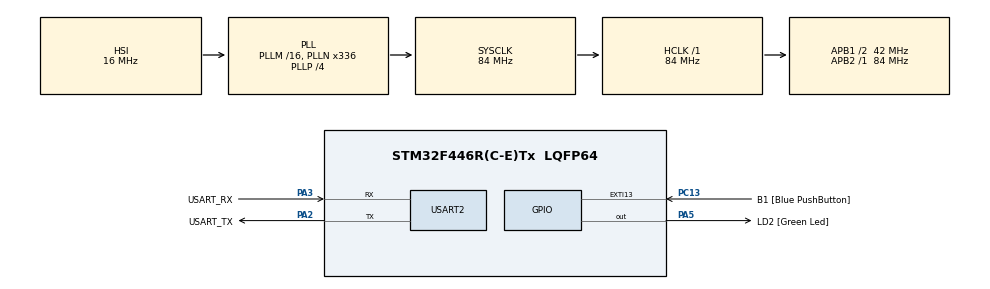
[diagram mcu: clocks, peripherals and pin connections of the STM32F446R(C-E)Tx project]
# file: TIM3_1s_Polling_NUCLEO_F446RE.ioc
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Mcu.Family=STM32F4
Mcu.Name=STM32F446R(C-E)Tx
Mcu.Package=LQFP64
NVIC.PriorityGroup=NVIC_PRIORITYGROUP_0
PA13.GPIO_Label=TMS
PA13.Mode=Serial_Wire
PA13.Signal=SYS_JTMS-SWDIO
PA14.GPIO_Label=TCK
PA14.Mode=Serial_Wire
PA14.Signal=SYS_JTCK-SWCLK
PA2.GPIO_Label=USART_TX
PA2.Mode=Asynchronous
PA2.Signal=USART2_TX
PA3.GPIO_Label=USART_RX
PA3.Mode=Asynchronous
PA3.Signal=USART2_RX
PA5.GPIO_Label=LD2 [Green Led]
PA5.Signal=GPIO_Output
PB3.GPIO_Label=SWO
PB3.Signal=SYS_JTDO-SWO
PC13.GPIO_Label=B1 [Blue PushButton]
PC13.GPIO_ModeDefaultEXTI=GPIO_MODE_IT_FALLING
PC13.Signal=GPXTI13
PC14-OSC32_IN.Mode=LSE-External-Oscillator
PC14-OSC32_IN.Signal=RCC_OSC32_IN
PC15-OSC32_OUT.Mode=LSE-External-Oscillator
PC15-OSC32_OUT.Signal=RCC_OSC32_OUT
PH0-OSC_IN.Mode=HSE-External-Oscillator
PH0-OSC_IN.Signal=RCC_OSC_IN
PH1-OSC_OUT.Mode=HSE-External-Oscillator
PH1-OSC_OUT.Signal=RCC_OSC_OUT
ProjectManager.HeapSize=0x200
ProjectManager.StackSize=0x400
ProjectManager.TargetToolchain=STM32CubeIDE
RCC.48MHZClocksFreq_Value=84000000
RCC.AHBFreq_Value=84000000
RCC.APB1CLKDivider=RCC_HCLK_DIV2
RCC.APB1Freq_Value=42000000
RCC.APB1TimFreq_Value=84000000
RCC.APB2Freq_Value=84000000
RCC.APB2TimFreq_Value=84000000
RCC.CortexFreq_Value=84000000
RCC.FLatency-AdvancedSettings=FLASH_LATENCY_2
RCC.HCLKFreq_Value=84000000
RCC.HSE_VALUE=8000000
RCC.HSI_VALUE=16000000
RCC.PLLN=336
RCC.PLLP=RCC_PLLP_DIV4
RCC.SYSCLKFreq_VALUE=84000000
RCC.SYSCLKSource=RCC_SYSCLKSOURCE_PLLCLK
RCC.USBFreq_Value=168000000
RCC.VCOOutputFreq_Value=336000000
USART2.VirtualMode=VM_ASYNC
board=NUCLEO-F446RE

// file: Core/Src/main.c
/* USER CODE BEGIN Header */
/**
  ******************************************************************************
  * @file           : main.c
  * @brief          :TIM3 por polling
  * Este programa configura TIM3 para generar un evento de actualización cada 1
  * segundo. A diferencia de la versión con interrupción, aquí el evento no
  * llama automáticamente a una rutina. El programa principal consulta el flag
  * UIF dentro del while(1) mediante polling. Cuando UIF está activo, el
  * firmware lo limpia y conmuta el pin PA5, donde está conectado el LED LD2.
  * El tiempo lo mide el hardware del timer, pero la detección del evento la
  * realiza el software mediante consulta periódica.
  ******************************************************************************
  * @attention
  *
  * Copyright (c) 2026 STMicroelectronics.
  * All rights reserved.
  *
  * This software is licensed under terms that can be found in the LICENSE file
  * in the root directory of this software component.
  * If no LICENSE file comes with this software, it is provided AS-IS.
  *
  ******************************************************************************
  */
/* USER CODE END Header */
#include "main.h"

UART_HandleTypeDef huart2;

void SystemClock_Config(void);
static void MX_GPIO_Init(void);
static void MX_USART2_UART_Init(void);
/* USER CODE BEGIN PFP */
static void TIM3_1s_Polling_Init(void);
static void TIM3_Polling_Task(void);
static void LD2_Toggle_Register(void);
/* USER CODE END PFP */

/* USER CODE BEGIN 0 */
static void LD2_Toggle_Register(void)
{
    GPIOA->ODR ^= (1UL << 5U);
}

static void TIM3_1s_Polling_Init(void)
{
    /*
     * TIM3 pertenece a APB1.
     * En esta configuración:
     *
     * PCLK1 = 42 MHz
     * APB1 prescaler = 2
     * f_TIM3 = 2 x PCLK1 = 84 MHz
     */

    /* 1. Habilitar reloj de TIM3 */
    RCC->APB1ENR |= RCC_APB1ENR_TIM3EN;
    (void)RCC->APB1ENR;

    /* 2. Detener el timer durante la configuración */
    TIM3->CR1 &= ~TIM_CR1_CEN;

    /*
     * Queremos un evento cada 1 segundo.
     *
     * f_TIM3 = 84 MHz
     *
     * Elegimos:
     * f_CNT = 10 kHz
     *
     * PSC + 1 = 84 MHz / 10 kHz = 8400
     * PSC = 8399
     *
     * Para 1 segundo:
     * ARR + 1 = 10000
     * ARR = 9999
     */

    TIM3->PSC = 8399U;
    TIM3->ARR = 9999U;
    TIM3->CNT = 0U;

    /* 3. Modo ascendente */
    TIM3->CR1 &= ~TIM_CR1_DIR;

    /* 4. Modo edge-aligned */
    TIM3->CR1 &= ~TIM_CR1_CMS;

    /* 5. Habilitar preload de ARR */
    TIM3->CR1 |= TIM_CR1_ARPE;

    /* 6. No usar interrupción en el proyecto por polling */
    TIM3->DIER &= ~TIM_DIER_UIE;

    /* 7. Forzar actualización para cargar PSC y ARR */
    TIM3->EGR |= TIM_EGR_UG;

    /* 8. Limpiar flag de actualización */
    TIM3->SR &= ~TIM_SR_UIF;

    /* 9. Arrancar TIM3 */
    TIM3->CR1 |= TIM_CR1_CEN;
}

static void TIM3_Polling_Task(void)
{
    if ((TIM3->SR & TIM_SR_UIF) != 0U)
    {
        /* Limpiar flag de actualización */
        TIM3->SR &= ~TIM_SR_UIF;

        /* Acción cada 1 segundo */
        LD2_Toggle_Register();
    }
}
/* USER CODE END 0 */

int main(void)
{

  /* MCU Configuration--------------------------------------------------------*/

  /* Reset of all peripherals, Initializes the Flash interface and the Systick. */
  HAL_Init();

  /* Configure the system clock */
  SystemClock_Config();

  /* Initialize all configured peripherals */
  MX_GPIO_Init();
  MX_USART2_UART_Init();
  /* USER CODE BEGIN 2 */
  TIM3_1s_Polling_Init();
  /* USER CODE END 2 */

  /* Infinite loop */
  /* USER CODE BEGIN WHILE */
  while (1)
  {
	  TIM3_Polling_Task();
    /* USER CODE END WHILE */

  }
}

void SystemClock_Config(void)
{
  RCC_OscInitTypeDef RCC_OscInitStruct = {0};
  RCC_ClkInitTypeDef RCC_ClkInitStruct = {0};

  /** Configure the main internal regulator output voltage
  */
  __HAL_RCC_PWR_CLK_ENABLE();
  __HAL_PWR_VOLTAGESCALING_CONFIG(PWR_REGULATOR_VOLTAGE_SCALE3);

  /** Initializes the RCC Oscillators according to the specified parameters
  * in the RCC_OscInitTypeDef structure.
  */
  RCC_OscInitStruct.OscillatorType = RCC_OSCILLATORTYPE_HSI;
  RCC_OscInitStruct.HSIState = RCC_HSI_ON;
  RCC_OscInitStruct.HSICalibrationValue = RCC_HSICALIBRATION_DEFAULT;
  RCC_OscInitStruct.PLL.PLLState = RCC_PLL_ON;
  RCC_OscInitStruct.PLL.PLLSource = RCC_PLLSOURCE_HSI;
  RCC_OscInitStruct.PLL.PLLM = 16;
  RCC_OscInitStruct.PLL.PLLN = 336;
  RCC_OscInitStruct.PLL.PLLP = RCC_PLLP_DIV4;
  RCC_OscInitStruct.PLL.PLLQ = 2;
  RCC_OscInitStruct.PLL.PLLR = 2;
  if (HAL_RCC_OscConfig(&RCC_OscInitStruct) != HAL_OK)
  {
    Error_Handler();
  }

  /** Initializes the CPU, AHB and APB buses clocks
  */
  RCC_ClkInitStruct.ClockType = RCC_CLOCKTYPE_HCLK|RCC_CLOCKTYPE_SYSCLK
                              |RCC_CLOCKTYPE_PCLK1|RCC_CLOCKTYPE_PCLK2;
  RCC_ClkInitStruct.SYSCLKSource = RCC_SYSCLKSOURCE_PLLCLK;
  RCC_ClkInitStruct.AHBCLKDivider = RCC_SYSCLK_DIV1;
  RCC_ClkInitStruct.APB1CLKDivider = RCC_HCLK_DIV2;
  RCC_ClkInitStruct.APB2CLKDivider = RCC_HCLK_DIV1;

  if (HAL_RCC_ClockConfig(&RCC_ClkInitStruct, FLASH_LATENCY_2) != HAL_OK)
  {
    Error_Handler();
  }
}

static void MX_USART2_UART_Init(void)
{

  huart2.Instance = USART2;
  huart2.Init.BaudRate = 115200;
  huart2.Init.WordLength = UART_WORDLENGTH_8B;
  huart2.Init.StopBits = UART_STOPBITS_1;
  huart2.Init.Parity = UART_PARITY_NONE;
  huart2.Init.Mode = UART_MODE_TX_RX;
  huart2.Init.HwFlowCtl = UART_HWCONTROL_NONE;
  huart2.Init.OverSampling = UART_OVERSAMPLING_16;
  if (HAL_UART_Init(&huart2) != HAL_OK)
  {
    Error_Handler();
  }

}

static void MX_GPIO_Init(void)
{
  GPIO_InitTypeDef GPIO_InitStruct = {0};

  /* GPIO Ports Clock Enable */
  __HAL_RCC_GPIOC_CLK_ENABLE();
  __HAL_RCC_GPIOH_CLK_ENABLE();
  __HAL_RCC_GPIOA_CLK_ENABLE();
  __HAL_RCC_GPIOB_CLK_ENABLE();

  /*Configure GPIO pin Output Level */
  HAL_GPIO_WritePin(LD2_GPIO_Port, LD2_Pin, GPIO_PIN_RESET);

  /*Configure GPIO pin : B1_Pin */
  GPIO_InitStruct.Pin = B1_Pin;
  GPIO_InitStruct.Mode = GPIO_MODE_IT_FALLING;
  GPIO_InitStruct.Pull = GPIO_NOPULL;
  HAL_GPIO_Init(B1_GPIO_Port, &GPIO_InitStruct);

  /*Configure GPIO pin : LD2_Pin */
  GPIO_InitStruct.Pin = LD2_Pin;
  GPIO_InitStruct.Mode = GPIO_MODE_OUTPUT_PP;
  GPIO_InitStruct.Pull = GPIO_NOPULL;
  GPIO_InitStruct.Speed = GPIO_SPEED_FREQ_LOW;
  HAL_GPIO_Init(LD2_GPIO_Port, &GPIO_InitStruct);

}

void Error_Handler(void)
{
  __disable_irq();
  while (1)
  {
  }
}
